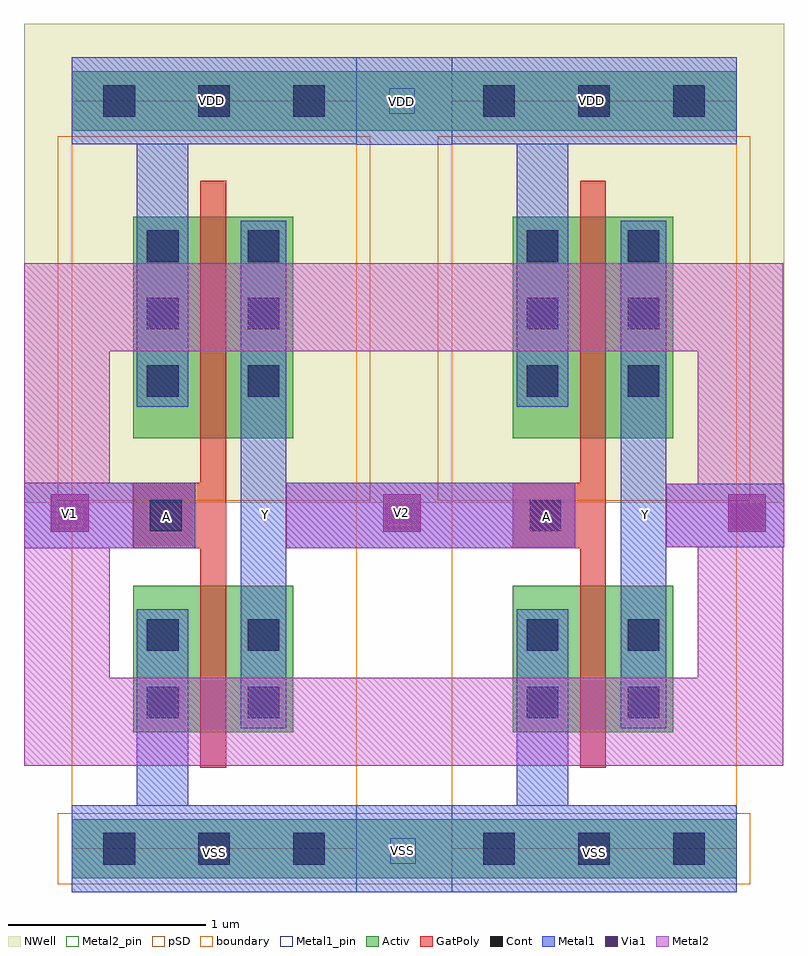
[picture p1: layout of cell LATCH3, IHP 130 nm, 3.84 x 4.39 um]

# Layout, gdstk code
import gdstk
lib = gdstk.Library(unit=1e-6, precision=1e-09)
def R(c, l, rs):  # rectangles x0, y0, x1, y1
    for r in rs: c.add(gdstk.rectangle(r[:2], r[2:], *l))
def A(c, l, x, y, w, h, nx, ny, dx, dy):  # array of equal rectangles
    R(c, l, [(x+i*dx, y+j*dy, x+i*dx+w, y+j*dy+h) for i in range(nx) for j in range(ny)])
def P(c, l, *ps):  # polygons
    for p in ps: c.add(gdstk.Polygon(p, *l))
Activ = (1, 0)
GatPoly = (5, 0)
Cont = (6, 0)
Metal1 = (8, 0)
Metal1_pin = (8, 2)
Metal2 = (10, 0)
Metal2_pin = (10, 2)
pSD = (14, 0)
Via1 = (19, 0)
NWell = (31, 0)
boundary = (189, 4)

latch3 = lib.new_cell('LATCH3')
R(latch3, Activ, [(0.241,0.07,1.681,0.37), (1.681,0.07,2.161,0.37), (2.161,0.07,3.601,0.37), (0.551,0.81,1.361,1.55), (2.471,0.81,3.281,1.55), (0.551,2.295,1.361,3.415), (2.471,2.295,3.281,3.415), (0.241,3.85,1.681,4.15), (1.681,3.85,2.163,4.15), (2.161,3.85,3.601,4.15)])
P(latch3, GatPoly, [(0.891,0.63),(0.891,1.74),(0.551,1.74),(0.551,2.07),(0.891,2.07),(0.891,3.595),(1.021,3.595),(1.021,0.63)],
  [(2.811,0.63),(2.811,1.74),(2.471,1.74),(2.471,2.07),(2.811,2.07),(2.811,3.595),(2.941,3.595),(2.941,0.63)])
A(latch3, Cont, 0.621, 2.505, 0.16, 0.16, 1, 3, 0, 0.34)
A(latch3, Cont, 1.131, 2.505, 0.16, 0.16, 1, 3, 0, 0.34)
A(latch3, Cont, 2.541, 2.505, 0.16, 0.16, 1, 3, 0, 0.34)
A(latch3, Cont, 3.051, 2.505, 0.16, 0.16, 1, 3, 0, 0.34)
R(latch3, Cont, [(0.401,0.14,0.561,0.3), (0.401,0.14,0.561,0.3), (0.881,0.14,1.041,0.3), (0.881,0.14,1.041,0.3), (1.361,0.14,1.521,0.3), (1.361,0.14,1.521,0.3), (2.321,0.14,2.481,0.3), (2.321,0.14,2.481,0.3), (2.801,0.14,2.961,0.3), (2.801,0.14,2.961,0.3), (3.281,0.14,3.441,0.3), (3.281,0.14,3.441,0.3), (0.621,0.88,0.781,1.04), (1.131,0.88,1.291,1.04), (2.541,0.88,2.701,1.04), (3.051,0.88,3.211,1.04), (0.621,1.22,0.781,1.38), (1.131,1.22,1.291,1.38), (2.541,1.22,2.701,1.38), (3.051,1.22,3.211,1.38), (0.636,1.825,0.796,1.985), (2.556,1.825,2.716,1.985), (0.401,3.92,0.561,4.08), (0.401,3.92,0.561,4.08), (0.881,3.92,1.041,4.08), (0.881,3.92,1.041,4.08), (1.361,3.92,1.521,4.08), (1.361,3.92,1.521,4.08), (2.321,3.92,2.481,4.08), (2.321,3.92,2.481,4.08), (2.801,3.92,2.961,4.08), (2.801,3.92,2.961,4.08), (3.281,3.92,3.441,4.08), (3.281,3.92,3.441,4.08)])
R(latch3, Metal1, [(1.681,0,2.161,0.44), (1.096,0.83,1.326,3.395), (3.016,0.83,3.246,3.395), (0,1.74,0.866,2.07), (0.551,1.74,0.866,2.07), (1.326,1.74,2.786,2.069), (2.471,1.74,2.786,2.07), (3.016,1.744,3.841,2.064), (1.681,3.779,2.163,4.22)])
P(latch3, Metal1, [(0.571,2.455),(0.571,3.78),(0.241,3.78),(0.241,4.22),(1.681,4.22),(1.681,3.78),(0.831,3.78),(0.831,2.455)],
  [(0.241,0),(0.241,0.44),(0.571,0.44),(0.571,1.43),(0.831,1.43),(0.831,0.44),(1.681,0.44),(1.681,0)],
  [(2.491,2.455),(2.491,3.78),(2.161,3.78),(2.161,4.22),(3.601,4.22),(3.601,3.78),(2.751,3.78),(2.751,2.455)],
  [(2.161,0),(2.161,0.44),(2.491,0.44),(2.491,1.43),(2.751,1.43),(2.751,0.44),(3.601,0.44),(3.601,0)])
R(latch3, Metal1_pin, [(0.241,0,1.681,0.44), (2.161,0,3.601,0.44), (1.85,0.144,1.98,0.274), (1.096,0.83,1.326,3.395), (3.016,0.83,3.246,3.395), (0.551,1.74,0.866,2.07), (2.471,1.74,2.786,2.07), (0.241,3.78,1.681,4.22), (2.161,3.78,3.601,4.22), (1.845,3.934,1.975,4.064)])
R(latch3, Metal2, [(0,0.639,3.838,1.085), (3.405,0.639,3.838,1.744), (0,0.959,0.433,2.07), (0,1.74,0.551,2.07), (1.326,1.74,2.786,2.069), (3.246,1.744,3.841,2.064), (3.405,2.064,3.838,3.18), (0,2.069,0.433,3.18), (0,2.734,3.838,3.18)])
R(latch3, Metal2_pin, [(0.165,1.849,0.295,1.979), (1.845,1.854,1.975,1.984)])
R(latch3, pSD, [(0.171,0.04,1.751,0.4), (1.751,0.04,2.091,0.4), (2.091,0.04,3.671,0.4), (0.171,1.98,1.751,3.82), (2.091,1.98,3.671,3.82)])
R(latch3, Via1, [(0.136,1.822,0.326,2.012), (1.815,1.822,2.005,2.012), (3.56,1.822,3.75,2.012)])
R(latch3, NWell, [(0.001,1.97,1.921,4.39), (1.921,1.97,3.841,4.39)])
R(latch3, boundary, [(0.241,0.22,1.681,4), (2.161,0.22,3.601,4)])
latch3.add(gdstk.Label('VDD', (1.91,3.999), layer=8, texttype=25))
latch3.add(gdstk.Label('VSS', (1.915,0.209), layer=8, texttype=25))
latch3.add(gdstk.Label('Y', (1.221,1.91), layer=8, texttype=25))
latch3.add(gdstk.Label('A', (0.721,1.9), layer=8, texttype=25))
latch3.add(gdstk.Label('VSS', (0.961,0.2), layer=8, texttype=25))
latch3.add(gdstk.Label('VDD', (0.946,4), layer=8, texttype=25))
latch3.add(gdstk.Label('Y', (3.141,1.91), layer=8, texttype=25))
latch3.add(gdstk.Label('A', (2.641,1.9), layer=8, texttype=25))
latch3.add(gdstk.Label('VSS', (2.881,0.2), layer=8, texttype=25))
latch3.add(gdstk.Label('VDD', (2.866,4), layer=8, texttype=25))
latch3.add(gdstk.Label('V1', (0.23,1.914), layer=10, texttype=25))
latch3.add(gdstk.Label('V2', (1.91,1.919), layer=10, texttype=25))

lib.write_gds('LATCH3.gds')
